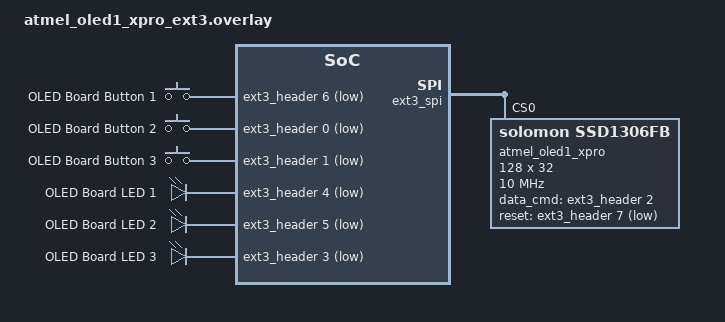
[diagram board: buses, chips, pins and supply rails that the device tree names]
/*
 * Copyright (c) 2024 Scott Barnes <scott@atomsmith.net>
 *
 * SPDX-License-Identifier: Apache-2.0
 */

/ {
	chosen {
		zephyr,display = &atmel_oled1_xpro;
	};

	aliases {
		atmel-oled1-xpro-led1 = &atmel_oled1_xpro_led1;
		atmel-oled1-xpro-led2 = &atmel_oled1_xpro_led2;
		atmel-oled1-xpro-led3 = &atmel_oled1_xpro_led3;
		atmel-oled1-xpro-sw1 = &atmel_oled1_xpro_button1;
		atmel-oled1-xpro-sw2 = &atmel_oled1_xpro_button2;
		atmel-oled1-xpro-sw3 = &atmel_oled1_xpro_button3;
	};

	oled1_gpio_keys {
		compatible = "gpio-keys";

		atmel_oled1_xpro_button1: button1 {
			label = "OLED Board Button 1";
			gpios = <&ext3_header 6 (GPIO_PULL_UP | GPIO_ACTIVE_LOW)>;
			zephyr,code = <INPUT_KEY_2>;
		};
		atmel_oled1_xpro_button2: button2 {
			label = "OLED Board Button 2";
			gpios = <&ext3_header 0 (GPIO_PULL_UP | GPIO_ACTIVE_LOW)>;
			zephyr,code = <INPUT_KEY_3>;
		};
		atmel_oled1_xpro_button3: button3 {
			label = "OLED Board Button 3";
			gpios = <&ext3_header 1 (GPIO_PULL_UP | GPIO_ACTIVE_LOW)>;
			zephyr,code = <INPUT_KEY_4>;
		};
	};

	atmel_oled1_xpro_leds {
		compatible = "gpio-leds";
		atmel_oled1_xpro_led1: led_1 {
			gpios = <&ext3_header 4 GPIO_ACTIVE_LOW>;
			label = "OLED Board LED 1";
		};
		atmel_oled1_xpro_led2: led_2 {
			gpios = <&ext3_header 5 GPIO_ACTIVE_LOW>;
			label = "OLED Board LED 2";
		};
		atmel_oled1_xpro_led3: led_3 {
			gpios = <&ext3_header 3 GPIO_ACTIVE_LOW>;
			label = "OLED Board LED 3";
		};
	};
};

&ext3_spi {
	status = "okay";
	#address-cells = <1>;
	#size-cells = <0>;

	atmel_oled1_xpro: ssd1306@0 {
		compatible = "solomon,ssd1306fb";
		reg = <0x0>;
		spi-max-frequency = <10000000>;
		width = <128>;
		height = <32>;
		segment-offset = <0>;
		page-offset = <0>;
		display-offset = <0>;
		multiplex-ratio = <0x1F>;
		segment-remap;
		com-invdir;
		com-sequential;
		prechargep = <0xF1>;
		data_cmd-gpios = <&ext3_header 2 0>;
		reset-gpios = <&ext3_header 7 GPIO_ACTIVE_LOW>;
	};
};
